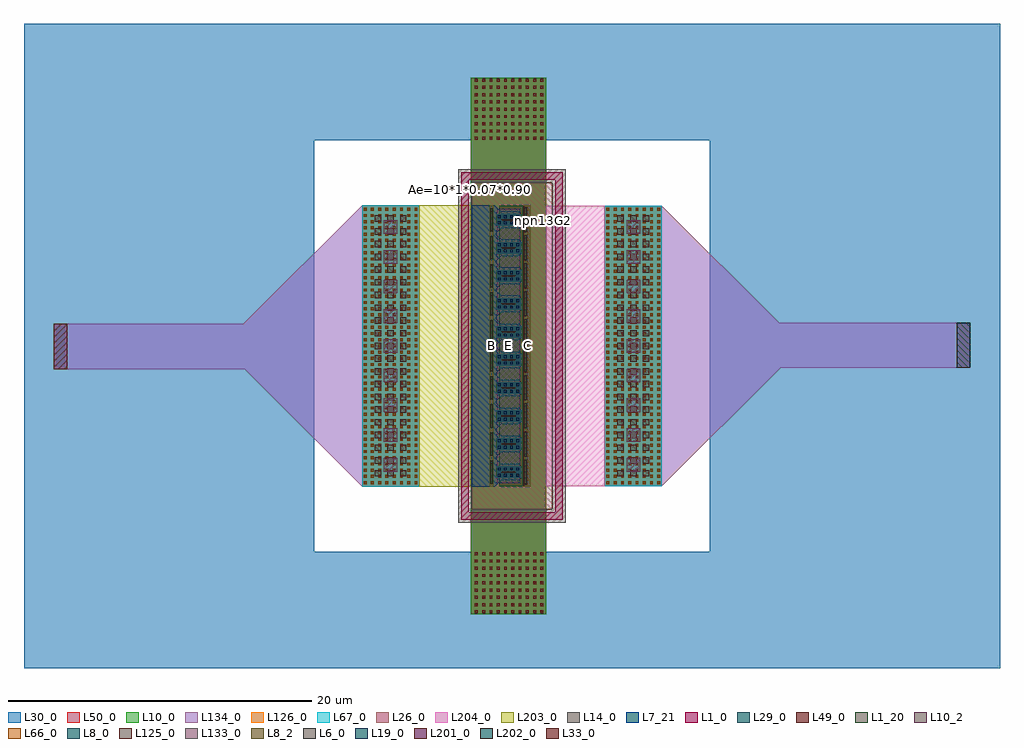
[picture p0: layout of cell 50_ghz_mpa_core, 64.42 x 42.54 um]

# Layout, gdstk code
import gdstk
lib = gdstk.Library(unit=1e-6, precision=1e-09)
def R(c, l, rs):  # rectangles x0, y0, x1, y1
    for r in rs: c.add(gdstk.rectangle(r[:2], r[2:], *l))
def A(c, l, x, y, w, h, nx, ny, dx, dy):  # array of equal rectangles
    R(c, l, [(x+i*dx, y+j*dy, x+i*dx+w, y+j*dy+h) for i in range(nx) for j in range(ny)])
def P(c, l, *ps):  # polygons
    for p in ps: c.add(gdstk.Polygon(p, *l))
L1_0 = (1, 0)
L1_20 = (1, 20)
L6_0 = (6, 0)
L7_21 = (7, 21)
L8_0 = (8, 0)
L8_2 = (8, 2)
L10_0 = (10, 0)
L10_2 = (10, 2)
L14_0 = (14, 0)
L19_0 = (19, 0)
L26_0 = (26, 0)
L29_0 = (29, 0)
L30_0 = (30, 0)
L33_0 = (33, 0)
L49_0 = (49, 0)
L50_0 = (50, 0)
L66_0 = (66, 0)
L67_0 = (67, 0)
L125_0 = (125, 0)
L126_0 = (126, 0)
L133_0 = (133, 0)
L134_0 = (134, 0)
L201_0 = (201, 0)
L202_0 = (202, 0)
L203_0 = (203, 0)
L204_0 = (204, 0)

c_50_ghz_mpa_core = lib.new_cell('50_ghz_mpa_core')
A(c_50_ghz_mpa_core, L1_0, -41.445, -51.875, 0.3, 1.85, 1, 10, 0, 1.85)
P(c_50_ghz_mpa_core, L1_0, [(-45.555,-54.1),(-45.555,-31.15),(-38.845,-31.15),(-38.845,-53.6),(-39.345,-53.6),(-39.345,-31.65),(-45.055,-31.65),(-45.055,-53.6),(-38.845,-53.6),(-38.845,-54.1)])
P(c_50_ghz_mpa_core, L1_20, [(-43.045,-35.225),(-43.045,-34.745),(-43.255,-34.535),(-43.255,-34.065),(-43.045,-33.855),(-43.045,-33.375),(-41.445,-33.375),(-41.445,-35.225)],
  [(-43.045,-37.075),(-43.045,-36.595),(-43.255,-36.385),(-43.255,-35.915),(-43.045,-35.705),(-43.045,-35.225),(-41.445,-35.225),(-41.445,-37.075)],
  [(-43.045,-38.925),(-43.045,-38.445),(-43.255,-38.235),(-43.255,-37.765),(-43.045,-37.555),(-43.045,-37.075),(-41.445,-37.075),(-41.445,-38.925)],
  [(-43.045,-40.775),(-43.045,-40.295),(-43.255,-40.085),(-43.255,-39.615),(-43.045,-39.405),(-43.045,-38.925),(-41.445,-38.925),(-41.445,-40.775)],
  [(-43.045,-42.625),(-43.045,-42.145),(-43.255,-41.935),(-43.255,-41.465),(-43.045,-41.255),(-43.045,-40.775),(-41.445,-40.775),(-41.445,-42.625)],
  [(-43.045,-44.475),(-43.045,-43.995),(-43.255,-43.785),(-43.255,-43.315),(-43.045,-43.105),(-43.045,-42.625),(-41.445,-42.625),(-41.445,-44.475)],
  [(-43.045,-46.325),(-43.045,-45.845),(-43.255,-45.635),(-43.255,-45.165),(-43.045,-44.955),(-43.045,-44.475),(-41.445,-44.475),(-41.445,-46.325)],
  [(-43.045,-48.175),(-43.045,-47.695),(-43.255,-47.485),(-43.255,-47.015),(-43.045,-46.805),(-43.045,-46.325),(-41.445,-46.325),(-41.445,-48.175)],
  [(-43.045,-50.025),(-43.045,-49.545),(-43.255,-49.335),(-43.255,-48.865),(-43.045,-48.655),(-43.045,-48.175),(-41.445,-48.175),(-41.445,-50.025)],
  [(-43.045,-51.875),(-43.045,-51.395),(-43.255,-51.185),(-43.255,-50.715),(-43.045,-50.505),(-43.045,-50.025),(-41.445,-50.025),(-41.445,-51.875)])
A(c_50_ghz_mpa_core, L6_0, -41.375, -51.775, 0.16, 1.65, 1, 10, 0, 1.85)
A(c_50_ghz_mpa_core, L6_0, -43.645, -51.71, 0.16, 1.52, 1, 10, 0, 1.85)
P(c_50_ghz_mpa_core, L7_21, [(-44.855,-35.275),(-44.855,-33.325),(-43.325,-33.325),(-42.905,-33.745),(-41.735,-33.745),(-41.485,-33.995),(-41.485,-34.605),(-41.735,-34.855),(-42.905,-34.855),(-43.325,-35.275)],
  [(-44.855,-37.125),(-44.855,-35.175),(-43.325,-35.175),(-42.905,-35.595),(-41.735,-35.595),(-41.485,-35.845),(-41.485,-36.455),(-41.735,-36.705),(-42.905,-36.705),(-43.325,-37.125)],
  [(-44.855,-38.975),(-44.855,-37.025),(-43.325,-37.025),(-42.905,-37.445),(-41.735,-37.445),(-41.485,-37.695),(-41.485,-38.305),(-41.735,-38.555),(-42.905,-38.555),(-43.325,-38.975)],
  [(-44.855,-40.825),(-44.855,-38.875),(-43.325,-38.875),(-42.905,-39.295),(-41.735,-39.295),(-41.485,-39.545),(-41.485,-40.155),(-41.735,-40.405),(-42.905,-40.405),(-43.325,-40.825)],
  [(-44.855,-42.675),(-44.855,-40.725),(-43.325,-40.725),(-42.905,-41.145),(-41.735,-41.145),(-41.485,-41.395),(-41.485,-42.005),(-41.735,-42.255),(-42.905,-42.255),(-43.325,-42.675)],
  [(-44.855,-44.525),(-44.855,-42.575),(-43.325,-42.575),(-42.905,-42.995),(-41.735,-42.995),(-41.485,-43.245),(-41.485,-43.855),(-41.735,-44.105),(-42.905,-44.105),(-43.325,-44.525)],
  [(-44.855,-46.375),(-44.855,-44.425),(-43.325,-44.425),(-42.905,-44.845),(-41.735,-44.845),(-41.485,-45.095),(-41.485,-45.705),(-41.735,-45.955),(-42.905,-45.955),(-43.325,-46.375)],
  [(-44.855,-48.225),(-44.855,-46.275),(-43.325,-46.275),(-42.905,-46.695),(-41.735,-46.695),(-41.485,-46.945),(-41.485,-47.555),(-41.735,-47.805),(-42.905,-47.805),(-43.325,-48.225)],
  [(-44.855,-50.075),(-44.855,-48.125),(-43.325,-48.125),(-42.905,-48.545),(-41.735,-48.545),(-41.485,-48.795),(-41.485,-49.405),(-41.735,-49.655),(-42.905,-49.655),(-43.325,-50.075)],
  [(-44.855,-51.925),(-44.855,-49.975),(-43.325,-49.975),(-42.905,-50.395),(-41.735,-50.395),(-41.485,-50.645),(-41.485,-51.255),(-41.735,-51.505),(-42.905,-51.505),(-43.325,-51.925)])
A(c_50_ghz_mpa_core, L8_0, -43.21, -51.3, 1.555, 0.7, 1, 10, 0, 1.85)
R(c_50_ghz_mpa_core, L8_0, [(-43.685,-51.925,-43.445,-33.325), (-41.405,-51.875,-40.965,-33.375)])
R(c_50_ghz_mpa_core, L8_2, [(-43.685,-51.925,-43.445,-33.325), (-41.405,-51.875,-40.965,-33.375)])
R(c_50_ghz_mpa_core, L10_0, [(-44.935,-60.325,-39.93,-33.375), (-44.695,-60.325,-40.085,-56.195), (-52.09,-51.925,-48.335,-33.325), (-52.09,-51.925,-48.34,-33.325), (-43.21,-51.875,-41.655,-33.375), (-36.065,-51.875,-32.31,-33.375), (-36.065,-51.875,-32.315,-33.375), (-44.935,-33.375,-39.93,-24.935), (-44.695,-29.065,-40.085,-24.935)])
R(c_50_ghz_mpa_core, L10_2, [(-43.21,-51.695,-41.655,-33.555)])
P(c_50_ghz_mpa_core, L14_0, [(-45.755,-54.3),(-45.755,-30.95),(-38.645,-30.95),(-38.645,-53.4),(-39.545,-53.4),(-39.545,-31.85),(-44.855,-31.85),(-44.855,-53.4),(-38.645,-53.4),(-38.645,-54.3)])
A(c_50_ghz_mpa_core, L19_0, -43.145, -51.25, 0.19, 0.19, 4, 2, 0.41, 0.41)
A(c_50_ghz_mpa_core, L19_0, -43.145, -49.4, 0.19, 0.19, 4, 2, 0.41, 0.41)
A(c_50_ghz_mpa_core, L19_0, -43.145, -47.55, 0.19, 0.19, 4, 2, 0.41, 0.41)
A(c_50_ghz_mpa_core, L19_0, -43.145, -45.7, 0.19, 0.19, 4, 2, 0.41, 0.41)
A(c_50_ghz_mpa_core, L19_0, -43.145, -43.85, 0.19, 0.19, 4, 2, 0.41, 0.41)
A(c_50_ghz_mpa_core, L19_0, -43.145, -42, 0.19, 0.19, 4, 2, 0.41, 0.41)
A(c_50_ghz_mpa_core, L19_0, -43.145, -40.15, 0.19, 0.19, 4, 2, 0.41, 0.41)
A(c_50_ghz_mpa_core, L19_0, -43.145, -38.3, 0.19, 0.19, 4, 2, 0.41, 0.41)
A(c_50_ghz_mpa_core, L19_0, -43.145, -36.45, 0.19, 0.19, 4, 2, 0.41, 0.41)
A(c_50_ghz_mpa_core, L19_0, -43.145, -34.6, 0.19, 0.19, 4, 2, 0.41, 0.41)
R(c_50_ghz_mpa_core, L26_0, [(-44.855,-53.4,-39.545,-31.85)])
A(c_50_ghz_mpa_core, L29_0, -44.645, -60.275, 0.19, 0.19, 10, 9, 0.48, 0.48)
A(c_50_ghz_mpa_core, L29_0, -51.99, -51.74, 0.19, 0.19, 8, 45, 0.48, 0.41)
A(c_50_ghz_mpa_core, L29_0, -35.965, -51.74, 0.19, 0.19, 8, 45, 0.48, 0.41)
A(c_50_ghz_mpa_core, L29_0, -44.645, -29.015, 0.19, 0.19, 10, 9, 0.48, 0.48)
R(c_50_ghz_mpa_core, L30_0, [(-55.255,-63.9,-29.145,-56.195), (-74.41,-63.89,-72.46,-21.36), (-72.46,-63.89,-55.255,-21.36), (-29.145,-63.89,-11.94,-21.36), (-11.94,-63.89,-9.99,-21.36), (-44.935,-60.325,-39.93,-24.935), (-44.695,-60.325,-40.085,-56.195), (-52.09,-51.925,-48.335,-33.325), (-52.09,-51.925,-48.34,-33.325), (-52.09,-51.925,-48.34,-33.325), (-36.065,-51.875,-32.31,-33.375), (-36.065,-51.875,-32.315,-33.375), (-36.065,-51.875,-32.315,-33.375), (-55.255,-29.065,-29.145,-21.36), (-44.695,-29.065,-40.085,-24.935)])
A(c_50_ghz_mpa_core, L33_0, -42.875, -50.985, 0.9, 0.07, 1, 10, 0, 1.85)
A(c_50_ghz_mpa_core, L49_0, -44.645, -60.275, 0.19, 0.19, 10, 9, 0.48, 0.48)
A(c_50_ghz_mpa_core, L49_0, -51.99, -51.74, 0.19, 0.19, 8, 45, 0.48, 0.41)
A(c_50_ghz_mpa_core, L49_0, -35.965, -51.74, 0.19, 0.19, 8, 45, 0.48, 0.41)
A(c_50_ghz_mpa_core, L49_0, -44.645, -29.015, 0.19, 0.19, 10, 9, 0.48, 0.48)
R(c_50_ghz_mpa_core, L50_0, [(-44.935,-60.325,-39.93,-24.935), (-44.695,-60.325,-40.085,-56.195), (-52.09,-51.925,-48.335,-33.325), (-52.09,-51.925,-48.34,-33.325), (-52.09,-51.925,-48.34,-33.325), (-36.065,-51.875,-32.31,-33.375), (-36.065,-51.875,-32.315,-33.375), (-36.065,-51.875,-32.315,-33.375), (-44.695,-29.065,-40.085,-24.935)])
A(c_50_ghz_mpa_core, L66_0, -51.99, -51.74, 0.19, 0.19, 8, 45, 0.48, 0.41)
A(c_50_ghz_mpa_core, L66_0, -35.965, -51.74, 0.19, 0.19, 8, 45, 0.48, 0.41)
R(c_50_ghz_mpa_core, L67_0, [(-52.09,-51.925,-48.335,-33.325), (-52.09,-51.925,-48.34,-33.325), (-52.09,-51.925,-48.34,-33.325), (-36.065,-51.875,-32.31,-33.375), (-36.065,-51.875,-32.315,-33.375), (-36.065,-51.875,-32.315,-33.375)])
A(c_50_ghz_mpa_core, L125_0, -51.265, -51.235, 0.42, 0.42, 3, 21, 0.84, 0.84)
A(c_50_ghz_mpa_core, L125_0, -35.24, -51.235, 0.42, 0.42, 3, 21, 0.84, 0.84)
R(c_50_ghz_mpa_core, L126_0, [(-52.09,-51.925,-48.335,-33.325), (-52.09,-51.925,-48.34,-33.325), (-52.09,-51.925,-48.34,-33.325), (-36.065,-51.875,-32.31,-33.375), (-36.065,-51.875,-32.315,-33.375), (-36.065,-51.875,-32.315,-33.375)])
A(c_50_ghz_mpa_core, L133_0, -50.665, -50.915, 0.9, 0.9, 1, 9, 0, 1.96)
A(c_50_ghz_mpa_core, L133_0, -34.64, -50.915, 0.9, 0.9, 1, 9, 0, 1.96)
R(c_50_ghz_mpa_core, L134_0, [(-52.09,-51.925,-48.335,-33.325), (-52.09,-51.925,-48.34,-33.325), (-36.065,-51.875,-32.31,-33.375), (-36.065,-51.875,-32.315,-33.375), (-72.46,-44.175,-52.09,-41.175), (-32.31,-44.08,-11.94,-41.08)])
P(c_50_ghz_mpa_core, L134_0, [(-59.94,-41.175),(-52.09,-33.325),(-52.09,-41.175)],
  [(-52.09,-51.925),(-59.845,-44.175),(-52.09,-44.175)],
  [(-32.31,-51.875),(-32.31,-44.08),(-24.465,-44.08)],
  [(-32.31,-41.08),(-32.31,-33.375),(-24.555,-41.08)])
R(c_50_ghz_mpa_core, L201_0, [(-72.46,-44.175,-71.54,-41.175)])
R(c_50_ghz_mpa_core, L202_0, [(-12.86,-44.08,-11.94,-41.08)])
R(c_50_ghz_mpa_core, L203_0, [(-48.335,-51.925,-44.935,-33.33)])
R(c_50_ghz_mpa_core, L204_0, [(-39.93,-51.875,-36.065,-33.375)])
c_50_ghz_mpa_core.add(gdstk.Label('npn13G2', (-40.115,-34.315), layer=63, texttype=0))
c_50_ghz_mpa_core.add(gdstk.Label('C', (-41.185,-42.625), layer=63, texttype=0))
c_50_ghz_mpa_core.add(gdstk.Label('B', (-43.565,-42.625), layer=63, texttype=0))
c_50_ghz_mpa_core.add(gdstk.Label('E', (-42.432,-42.625), layer=63, texttype=0))
c_50_ghz_mpa_core.add(gdstk.Label('Ae=10*1*0.07*0.90', (-44.971,-32.323), layer=63, texttype=0))

lib.write_gds('50_ghz_mpa_core.gds')
